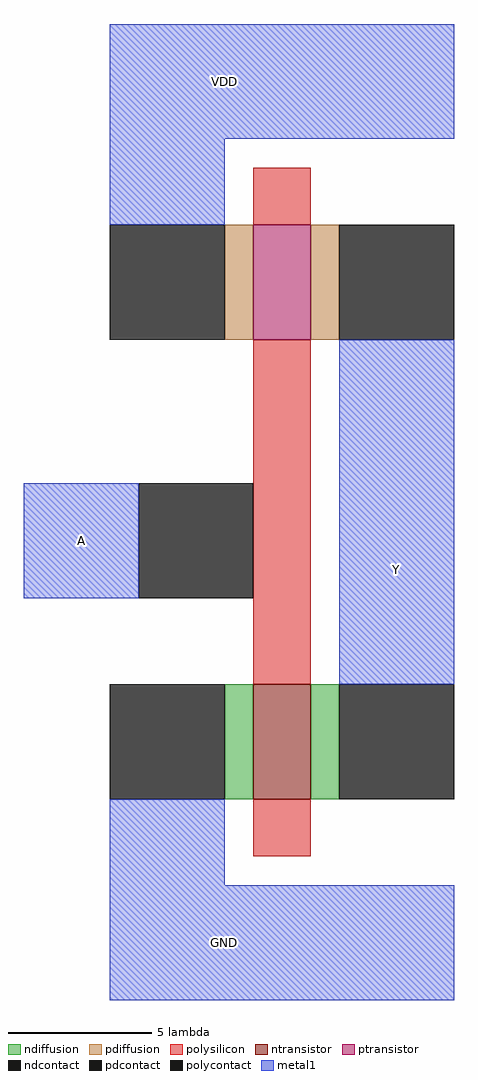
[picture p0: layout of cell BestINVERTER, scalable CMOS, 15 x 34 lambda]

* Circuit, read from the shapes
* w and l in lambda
.subckt BestINVERTER A GND VDD Y
M1 Y A GND VSUBS nfet w=4 l=2
M2 Y A VDD NWELL pfet w=4 l=2
.ends

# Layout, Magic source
magic
tech scmos
<< polysilicon >>
rect 5 4 7 6
rect 5 -12 7 0
rect 5 -18 7 -16
<< ndiffusion >>
rect 4 -16 5 -12
rect 7 -16 8 -12
<< pdiffusion >>
rect 4 0 5 4
rect 7 0 8 4
<< metal1 >>
rect 0 7 12 11
rect 0 4 4 7
rect -3 -9 1 -5
rect 8 -12 12 0
rect 0 -19 4 -16
rect 0 -23 12 -19
<< ntransistor >>
rect 5 -16 7 -12
<< ptransistor >>
rect 5 0 7 4
<< polycontact >>
rect 1 -9 5 -5
<< ndcontact >>
rect 0 -16 4 -12
rect 8 -16 12 -12
<< pdcontact >>
rect 0 0 4 4
rect 8 0 12 4
<< labels >>
rlabel metal1 4 9 4 9 5 VDD
rlabel metal1 -1 -7 -1 -7 3 A
rlabel metal1 10 -8 10 -8 7 Y
rlabel metal1 4 -21 4 -21 1 GND
<< end >>
